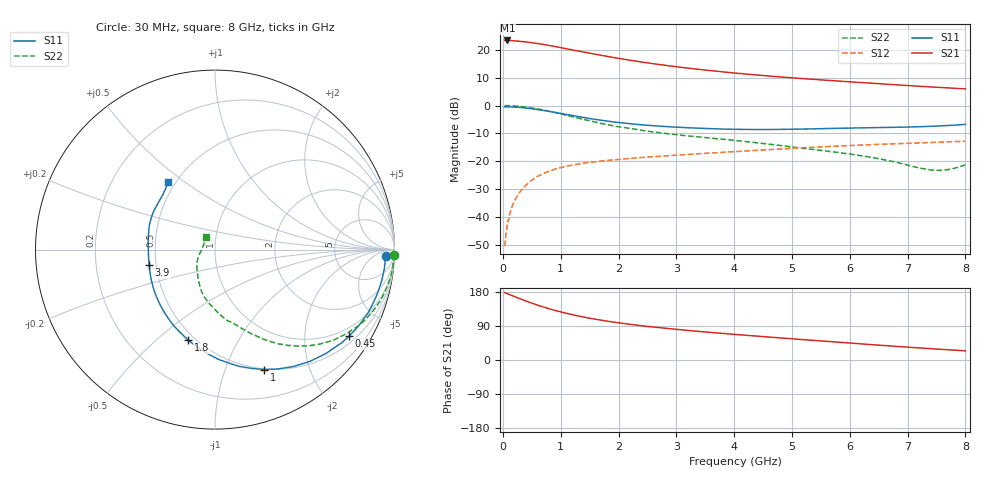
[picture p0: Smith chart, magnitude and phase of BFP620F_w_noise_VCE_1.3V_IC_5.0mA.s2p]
! Infineon Technologies  Discrete & RF Semiconductors
! BFP620F
! VCE =  1.3 V,  IC =  5.0 mA
! Common Emitter S-Parameters:  Dec 2014
# GHz  S  MA  R  50
!  f  S11  S21  S12  S22
! GHz  MAG  ANG  MAG  ANG  MAG  ANG  MAG  ANG
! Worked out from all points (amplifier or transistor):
!   95 points, 30 MHz to 8 GHz, reference 50 ohm
!   highest |S21| = 23.3 dB at 80 MHz (marker M1)
!   |S21| within 3 dB of that: start of sweep to 1.104 GHz
!   unconditionally stable (mu >= 1): 5.24 GHz to end of sweep
!   at 300 MHz: K = 0.07, MSG = 26.9 dB, |S12| = -30.9 dB
!   at 3.3 GHz: K = 0.83, MSG = 15.3 dB, |S12| = -17.4 dB
!   at 8 GHz: K = 1.12, MAG = 7.3 dB, |S12| = -12.8 dB
!   lowest NFmin = 0.52 dB at 450 MHz
!   S11 on the Smith chart (normalised r, x): 30 MHz: 25, -19; 450 MHz: 0.70, -3.25; 1 GHz: 0.49, -1.37; 1.8 GHz: 0.46, -0.64; 3.9 GHz: 0.46, -0.09; 8 GHz: 0.46, +0.43
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0.03  0.9507 -2.2  14.69 177.7  0.003 89.0  0.9975 -1.7
0.08  0.9501 -6.1  14.7 174.8  0.0084 81.4  0.9946 -4.6
0.15  0.9438 -11.2  14.59 170.5  0.0146 84.3  0.99 -8.6
0.25  0.9305 -18.6  14.35 164.3  0.0238 80.8  0.9746 -14.3
0.45  0.8892 -32.9  13.63 152.8  0.0416 72.6  0.9238 -25.1
0.6  0.8465 -43.2  12.95 144.8  0.0536 67.0  0.8687 -32.7
0.7  0.8169 -49.7  12.48 139.9  0.0603 63.8  0.8305 -37.4
0.9  0.7525 -62.1  11.47 130.9  0.0723 57.9  0.7487 -45.7
1  0.7224 -67.7  10.93 127.0  0.0772 55.5  0.7084 -49.4
1.2  0.6635 -78.5  9.961 119.7  0.0855 51.1  0.6314 -56.2
1.4  0.611 -88.4  9.095 113.3  0.0925 47.9  0.5639 -61.9
1.6  0.5641 -97.8  8.326 107.6  0.0981 45.4  0.5047 -67.2
1.8  0.5268 -106.3  7.637 102.6  0.1032 43.4  0.4561 -72.1
2.2  0.4723 -121.4  6.502 94.2  0.1125 40.3  0.3879 -82.0
2.7  0.428 -137.2  5.454 85.5  0.1226 37.7  0.3257 -91.4
3.3  0.3957 -153.1  4.565 76.7  0.1345 35.6  0.2788 -100.7
3.9  0.3768 -166.8  3.932 69.0  0.1469 33.6  0.2435 -108.1
4.1  0.3736 -170.8  3.755 66.5  0.1508 32.9  0.2317 -110.3
5.4  0.3822 165.2  2.937 51.5  0.1791 27.8  0.1617 -127.5
6.7  0.4058 144.4  2.392 37.1  0.2046 21.5  0.1012 -156.2
7.5  0.4284 131.5  2.128 29.0  0.2193 17.8  0.0687 161.2
8  0.4585 124.9  1.991 24.1  0.229 15.1  0.0863 124.4
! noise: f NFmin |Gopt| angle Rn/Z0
0.45  0.52  0.46  9  0.28
0.9  0.59  0.43  20  0.24
1.5  0.66  0.38  26  0.22
1.8  0.7  0.36  30  0.21
1.9  0.71  0.31  42  0.23
2.4  0.77  0.28  56  0.21
3.5  0.9  0.27  77  0.16
5.5  1.12  0.18  155  0.13
6  1.17  0.14  173  0.25
